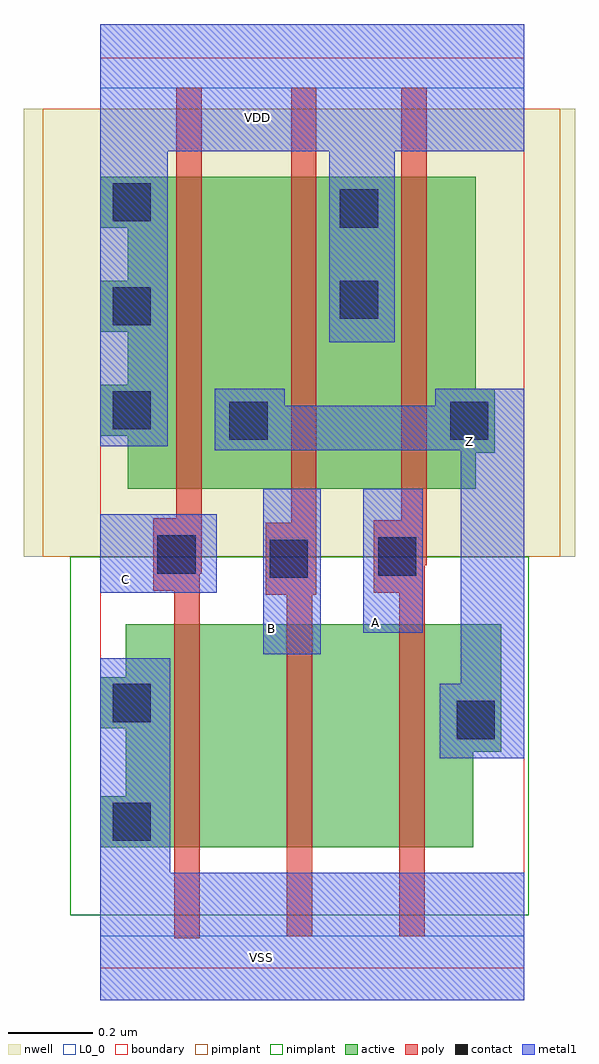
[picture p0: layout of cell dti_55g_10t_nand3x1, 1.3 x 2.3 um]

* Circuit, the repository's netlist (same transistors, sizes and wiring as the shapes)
*##########################################################################################
* Copyright (c) 2023 Dolphin Technology, Inc.
* This netlist is proprietary and confidential information of
* Dolphin Technology, Inc. and can only be used or viewed
* under license or with written permission from Dolphin Technology, Inc.
*##########################################################################################
* /data/projects/stdcells/scripts_svn_update_flow/Update_property_flow/lvsNetlist.pl -c dti_55g_10t_nand3x1 -p /data/projects/stdcells/scripts_svn_update_flow/Update_property_flow/params/params55.sp -s netlist -d lvs -nglob
* dt35-linux:/data/projects/stdcells/REPOSITORY_RV003/ckt/tsmc55 
* dti_55g_10t_nand3x1.ckt generated on 6/5/2023 at 9:51:21
*##########################################################################################
* Dependencies
*##########################################################################################

.param wnd=1u wpd=1u

.option scale=1

.global vdd vss vddps vddcs
* DAMN, don't know where the cell is 
.subckt dti_55g_10t_nand3x1 VDD VSS C A B Z
mp3 Z C VDD VDD pch l=0.06u w=0.735u
mp1 Z A VDD VDD pch l=0.06u w=0.735u
mp2 Z B VDD VDD pch l=0.06u w=0.735u
mn1 Z A N1N43 VSS nch l=0.06u w=0.525u
mn2 N1N43 B N1N71 VSS nch l=0.06u w=0.525u
mn3 N1N71 C VSS VSS nch l=0.06u w=0.525u
.ends

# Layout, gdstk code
from math import pi, radians
import gdstk
lib = gdstk.Library(unit=1e-6, precision=1e-09)
def R(c, l, rs):  # rectangles x0, y0, x1, y1
    for r in rs: c.add(gdstk.rectangle(r[:2], r[2:], *l))
L0_0 = (0, 0)
nwell = (3, 0)
active = (6, 0)
poly = (17, 0)
pimplant = (25, 0)
nimplant = (26, 0)
contact = (30, 0)
metal1 = (31, 0)
boundary = (108, 0)
L923_0 = (923, 0)

template_55g_10t = lib.new_cell('template_55g_10t')
R(template_55g_10t, metal1, [(0,-0.15,0.2,0.15), (0,1.85,0.2,2.15)])
template_55g_10t.add(gdstk.FlexPath([(0.2,0.21),(0,0.21)], 0, ends="flush", simple_path=True, layer=923, datatype=0))  # L923_0
template_55g_10t.add(gdstk.FlexPath([(0.2,0.735),(0,0.735)], 0, ends="flush", simple_path=True, layer=923, datatype=0))  # L923_0
template_55g_10t.add(gdstk.FlexPath([(0.2,0.895),(0,0.895)], 0, ends="flush", simple_path=True, layer=923, datatype=0))  # L923_0
template_55g_10t.add(gdstk.FlexPath([(0.2,1.055),(0,1.055)], 0, ends="flush", simple_path=True, layer=923, datatype=0))  # L923_0
template_55g_10t.add(gdstk.FlexPath([(0.2,1.79),(0,1.79)], 0, ends="flush", simple_path=True, layer=923, datatype=0))  # L923_0

cellgrid_nom2 = lib.new_cell('cellgrid_noM2')
R(cellgrid_nom2, L0_0, [(0,0,0.2,0.2)])
cellgrid_nom2.add(gdstk.FlexPath([(0.2,0),(0,0.2)], 0, ends="flush", simple_path=True, layer=0, datatype=0))  # L0_0
cellgrid_nom2.add(gdstk.FlexPath([(0.2,0.2),(0,0)], 0, ends="flush", simple_path=True, layer=0, datatype=0))  # L0_0

pmos_735_n_2 = lib.new_cell('pmos_735_n_2')
R(pmos_735_n_2, nwell, [(-0.275,-0.16,0.335,0.895)])
R(pmos_735_n_2, active, [(-0.115,0,0.175,0.735)])
R(pmos_735_n_2, poly, [(0,-0.14,0.06,0.875)])
R(pmos_735_n_2, pimplant, [(-0.245,-0.16,0.305,0.895)])

nmos_525_n_2 = lib.new_cell('nmos_525_n_2')
R(nmos_525_n_2, active, [(-0.115,0,0.175,0.525)])
R(nmos_525_n_2, poly, [(0,-0.14,0.06,0.665)])
R(nmos_525_n_2, nimplant, [(-0.245,-0.16,0.305,0.685)])

cnt_n = lib.new_cell('cnt_n')
R(cnt_n, active, [(-0.06,-0.075,0.06,0.075)])
R(cnt_n, contact, [(-0.045,-0.045,0.045,0.045)])
R(cnt_n, metal1, [(-0.045,-0.045,0.045,0.045)])

cnt = lib.new_cell('cnt')
R(cnt, contact, [(-0.045,-0.045,0.045,0.045)])
R(cnt, metal1, [(-0.045,-0.045,0.045,0.045)])

pcnt_v = lib.new_cell('pcnt_v')
R(pcnt_v, poly, [(-0.055,-0.085,0.055,0.085)])
pcnt_v.add(gdstk.Reference(cnt, (0,0)))

dti_55g_10t_nand3x1 = lib.new_cell('dti_55g_10t_nand3x1')
R(dti_55g_10t_nand3x1, nwell, [(-0.18,0.895,1.12,1.95)])
R(dti_55g_10t_nand3x1, active, [(0.88,0.435,0.945,0.735)])
R(dti_55g_10t_nand3x1, poly, [(0.175,-0.005,0.235,0.07), (0.44,0,0.5,0.07), (0.705,0,0.765,0.07), (0.425,0.805,0.51,0.915), (0.135,0.855,0.24,0.915), (0.705,0.875,0.77,0.915), (0.18,1.93,0.24,2), (0.45,1.93,0.51,2), (0.71,1.93,0.77,2)])
R(dti_55g_10t_nand3x1, pimplant, [(-0.135,0.895,1.085,1.95)])
R(dti_55g_10t_nand3x1, metal1, [(0,0.15,0.165,0.655), (0.8,0.42,1,0.595), (0.85,0.595,1,1.145), (0.385,0.665,0.52,1.055), (0.62,0.715,0.76,1.055), (0,0.81,0.275,0.995), (0.27,1.145,0.435,1.29), (0.435,1.145,0.79,1.25), (0.79,1.145,1,1.29), (0,1.155,0.16,1.85), (0.54,1.4,0.695,1.85)])
R(dti_55g_10t_nand3x1, boundary, [(0,-0.075,1,2.07)])
r = gdstk.Reference(template_55g_10t, (0,0)); r.repetition = gdstk.Repetition(5, 1, v1=(0.2,0), v2=(0,0)); dti_55g_10t_nand3x1.add(r)
r = gdstk.Reference(cellgrid_nom2, (0,0)); r.repetition = gdstk.Repetition(5, 10, v1=(0.2,0), v2=(0,0.2)); dti_55g_10t_nand3x1.add(r)
dti_55g_10t_nand3x1.add(gdstk.Reference(pmos_735_n_2, (0.18,1.055)))
dti_55g_10t_nand3x1.add(gdstk.Reference(pmos_735_n_2, (0.45,1.055)))
dti_55g_10t_nand3x1.add(gdstk.Reference(pmos_735_n_2, (0.71,1.055)))
dti_55g_10t_nand3x1.add(gdstk.Reference(nmos_525_n_2, (0.175,0.21)))
dti_55g_10t_nand3x1.add(gdstk.Reference(nmos_525_n_2, (0.44,0.21)))
dti_55g_10t_nand3x1.add(gdstk.Reference(nmos_525_n_2, (0.705,0.21)))
dti_55g_10t_nand3x1.add(gdstk.Reference(cnt_n, (0.075,1.73), rotation=pi/2))
dti_55g_10t_nand3x1.add(gdstk.Reference(cnt_n, (0.075,1.485), rotation=pi/2))
dti_55g_10t_nand3x1.add(gdstk.Reference(cnt_n, (0.075,1.24), rotation=pi/2))
dti_55g_10t_nand3x1.add(gdstk.Reference(cnt_n, (0.075,0.27), rotation=pi/2))
dti_55g_10t_nand3x1.add(gdstk.Reference(cnt_n, (0.075,0.55), rotation=pi/2))
dti_55g_10t_nand3x1.add(gdstk.Reference(cnt_n, (0.61,1.715)))
dti_55g_10t_nand3x1.add(gdstk.Reference(cnt_n, (0.61,1.5)))
dti_55g_10t_nand3x1.add(gdstk.Reference(cnt_n, (0.35,1.215), rotation=pi))
dti_55g_10t_nand3x1.add(gdstk.Reference(cnt_n, (0.87,1.215), rotation=pi))
dti_55g_10t_nand3x1.add(gdstk.Reference(cnt_n, (0.885,0.51)))
dti_55g_10t_nand3x1.add(gdstk.Reference(pcnt_v, (0.18,0.9), rotation=pi))
dti_55g_10t_nand3x1.add(gdstk.Reference(pcnt_v, (0.445,0.89)))
dti_55g_10t_nand3x1.add(gdstk.Reference(pcnt_v, (0.7,0.895)))
dti_55g_10t_nand3x1.add(gdstk.Label('B', (0.405,0.725), layer=131, texttype=0))
dti_55g_10t_nand3x1.add(gdstk.Label('A', (0.65,0.74), layer=131, texttype=0))
dti_55g_10t_nand3x1.add(gdstk.Label('Z', (0.87,1.165), layer=131, texttype=0))
dti_55g_10t_nand3x1.add(gdstk.Label('VDD', (0.37,1.93), layer=131, texttype=0))
dti_55g_10t_nand3x1.add(gdstk.Label('VSS', (0.38,-0.05), layer=131, texttype=0))
dti_55g_10t_nand3x1.add(gdstk.Label('C', (0.06,0.84), layer=131, texttype=0))

lib.write_gds('dti_55g_10t_nand3x1.gds')
